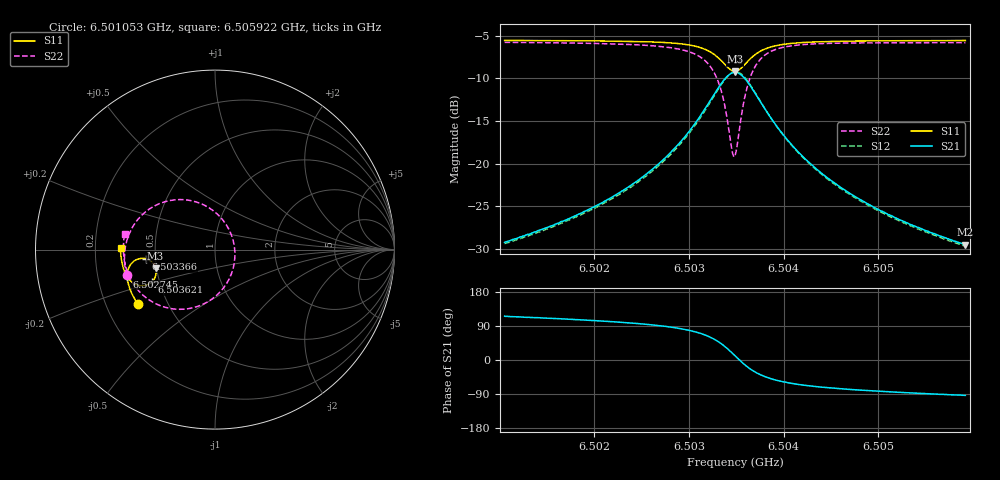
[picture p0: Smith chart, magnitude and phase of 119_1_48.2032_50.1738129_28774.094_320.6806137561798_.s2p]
#  HZ  S  RI  R  50.00
! Rohde & Schwarz Vector Network Analyzer
! Rohde-Schwarz,ZNB20-2Port,1311601062101988,3.16
! Created: UTC 3/20/2024, 11:41:19 AM
! freq[Hz]  re:S11  im:S11  re:S21  im:S21  re:S12  im:S12  re:S22  im:S22
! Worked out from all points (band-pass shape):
!   401 points, 6.501053 GHz to 6.505922 GHz, reference 50 ohm
!   highest |S21| = -9.31 dB at 6.503487 GHz (marker M1); lowest = -29.5 dB at 6.505922 GHz (marker M2)
!   |S21| within 3 dB of the highest: 6.503244 GHz to 6.503731 GHz (487.6 kHz wide, 0.0075 % of centre)
!   lowest |S11| = -9.2 dB at 6.503487 GHz (marker M3), VSWR 2.06, Z = 24.7 - j5.79 ohm
!   |S11| at or under -10 dB: nowhere
!   |S22| runs from -19.2 to -5.8 dB; largest |S21 - S12| = 0.012
!   S11 on the Smith chart (normalised r, x): 6.501053 GHz: 0.34, -0.28; 6.502745 GHz: 0.33, -0.13; 6.503366 GHz: 0.44, -0.05; 6.503621 GHz: 0.45, -0.19; 6.505922 GHz: 0.31, +0.01
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6.5010533e9  -0.4309 -0.3024  -0.0149 0.0312  -0.0131 0.0314  -0.4928 -0.1438
6.5018687e9  -0.4653 -0.2413  -0.014 0.0495  -0.0116 0.049  -0.5043 -0.0553
6.5023069e9  -0.4804 -0.2017  -0.011 0.069  -0.0079 0.0678  -0.5001 0.00881
6.5026842e9  -0.4888 -0.159  -0.00126 0.1  0.00241 0.0975  -0.4786 0.0868
6.502745e9  -0.4893 -0.1507  0.0019 0.1073  0.00577 0.1046  -0.4714 0.1031
6.5029641e9  -0.4855 -0.1157  0.0244 0.1431  0.0282 0.1386  -0.4245 0.174
6.5031223e9  -0.4706 -0.0834  0.0643 0.1795  0.0672 0.1735  -0.3466 0.238
6.5032684e9  -0.4322 -0.0539  0.147 0.2083  0.1478 0.2017  -0.1955 0.2787
6.503317e9  -0.4107 -0.049  0.1902 0.2066  0.1903 0.2008  -0.12 0.2696
6.5033657e9  -0.3853 -0.0511  0.2395 0.191  0.2397 0.1862  -0.0355 0.2343
6.5034509e9  -0.342 -0.0809  0.3183 0.1154  0.3208 0.1109  0.0901 0.0848
6.5034874e9  -0.3312 -0.1031  0.3359 0.066  0.3396 0.0604  0.1107 -0.00792
6.5035118e9  -0.3284 -0.1196  0.3394 0.031  0.3432 0.0241  0.1077 -0.0721
6.5035483e9  -0.3306 -0.1438  0.3316 -0.0197  0.3351 -0.0288  0.0796 -0.1621
6.5036213e9  -0.3531 -0.1812  0.2843 -0.0965  0.2841 -0.1083  -0.0322 -0.2859
6.5037187e9  -0.3943 -0.2008  0.2053 -0.1401  0.2002 -0.1503  -0.1933 -0.3326
6.5038769e9  -0.4438 -0.1934  0.1164 -0.1394  0.1091 -0.1449  -0.3549 -0.288
6.5040473e9  -0.4731 -0.1724  0.0682 -0.1183  0.0616 -0.1207  -0.4335 -0.2201
6.5043029e9  -0.4956 -0.1409  0.035 -0.0913  0.03 -0.0918  -0.4813 -0.1415
6.5046558e9  -0.511 -0.1033  0.0158 -0.0677  0.0122 -0.0673  -0.5039 -0.0677
6.5051183e9  -0.5207 -0.0598  0.00525 -0.0499  0.00292 -0.0491  -0.5107 0.000314
6.5059216e9  -0.526 0.0087  -0.00191 -0.0335  -0.00338 -0.0327  -0.5034 0.0873
